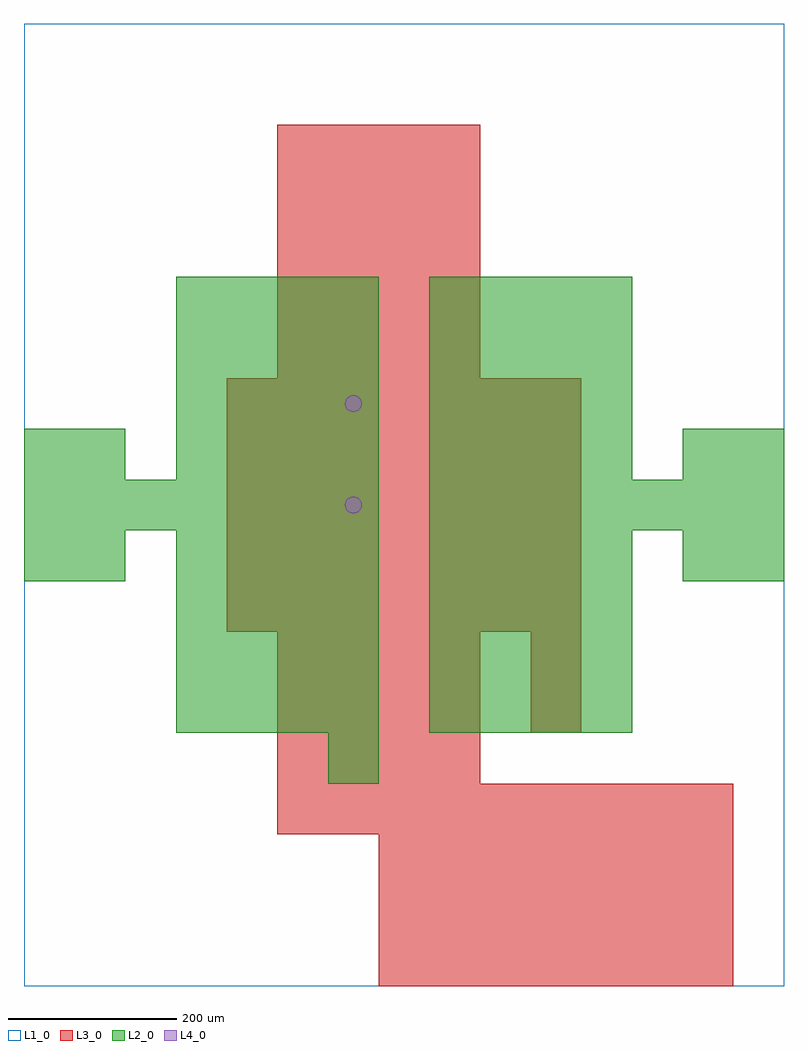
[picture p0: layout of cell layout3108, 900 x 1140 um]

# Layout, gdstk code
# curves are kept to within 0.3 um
import gdstk
lib = gdstk.Library(unit=1e-6, precision=1e-09)
def R(c, l, rs):  # rectangles x0, y0, x1, y1
    for r in rs: c.add(gdstk.rectangle(r[:2], r[2:], *l))
def A(c, l, x, y, w, h, nx, ny, dx, dy):  # array of equal rectangles
    R(c, l, [(x+i*dx, y+j*dy, x+i*dx+w, y+j*dy+h) for i in range(nx) for j in range(ny)])
def P(c, l, *ps):  # polygons
    for p in ps: c.add(gdstk.Polygon(p, *l))
L1_0 = (1, 0)
L2_0 = (2, 0)
L3_0 = (3, 0)
L4_0 = (4, 0)

layout3108 = lib.new_cell('layout3108')
R(layout3108, L1_0, [(0,0,900,1140)])
A(layout3108, L2_0, 180, 300, 60, 60, 4, 4, 60, 60)
A(layout3108, L2_0, 480, 300, 60, 60, 4, 4, 60, 60)
A(layout3108, L2_0, 0, 540, 60, 60, 7, 1, 60, 0)
A(layout3108, L2_0, 480, 540, 60, 60, 7, 1, 60, 0)
A(layout3108, L2_0, 180, 600, 60, 60, 4, 4, 60, 60)
A(layout3108, L2_0, 480, 600, 60, 60, 4, 4, 60, 60)
R(layout3108, L2_0, [(360,240,420,300), (0,480,60,540), (60,480,120,540), (780,480,840,540), (840,480,900,540), (0,600,60,660), (60,600,120,660), (780,600,840,660), (840,600,900,660)])
A(layout3108, L3_0, 420, 0, 60, 60, 7, 3, 60, 60)
A(layout3108, L3_0, 300, 180, 60, 60, 9, 1, 60, 0)
A(layout3108, L3_0, 300, 240, 60, 60, 4, 3, 60, 60)
A(layout3108, L3_0, 240, 420, 60, 60, 7, 5, 60, 60)
A(layout3108, L3_0, 300, 720, 60, 60, 4, 5, 60, 60)
R(layout3108, L3_0, [(600,300,660,360), (600,360,660,420)])
P(layout3108, L4_0, [(400,570),(399.239,573.827),(397.071,577.071),(393.827,579.239),(390,580),(386.173,579.239),(382.929,577.071),(380.761,573.827),(380,570),(380.761,566.173),(382.929,562.929),(386.173,560.761),(390,560),(393.827,560.761),(397.071,562.929),(399.239,566.173)],
  [(400,690),(399.239,693.827),(397.071,697.071),(393.827,699.239),(390,700),(386.173,699.239),(382.929,697.071),(380.761,693.827),(380,690),(380.761,686.173),(382.929,682.929),(386.173,680.761),(390,680),(393.827,680.761),(397.071,682.929),(399.239,686.173)])

lib.write_gds('layout3108.gds')
